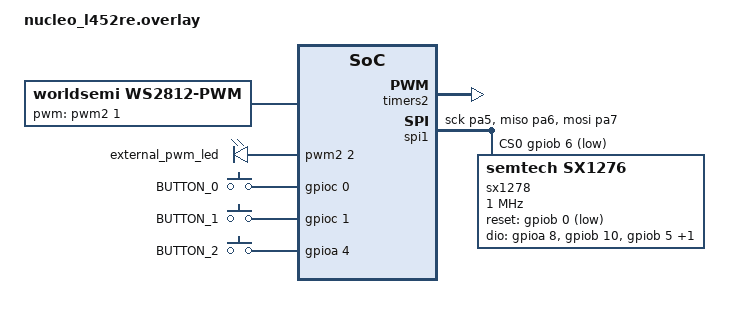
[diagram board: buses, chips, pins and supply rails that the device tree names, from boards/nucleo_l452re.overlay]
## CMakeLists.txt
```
cmake_minimum_required(VERSION 3.20)

if(NOT DEFINED BOARD)
    set(BOARD nucleo_l452re)
#    set(BOARD rs_0015_100)
endif()

include(${CMAKE_CURRENT_SOURCE_DIR}/../modules/rts-zephyr/clion-zephyr.cmake)

project(russia_railways VERSION 0.0.0)
FILE(GLOB_RECURSE SOURCES src/*.c src/*.cc src/*.cpp)
target_sources(app PRIVATE ${SOURCES})
target_include_directories(app PRIVATE ${CMAKE_CURRENT_SOURCE_DIR}/src/libs)
```

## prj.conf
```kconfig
# Common CONFIG begin
CONFIG_CPLUSPLUS=y
CONFIG_LIB_CPLUSPLUS=y
CONFIG_STD_CPP17=y
CONFIG_SYSTEM_WORKQUEUE_PRIORITY=0
# Common CONFIG end

# LoRa CONFIG begin
CONFIG_LORA=y
CONFIG_LORA_SX12XX=y
CONFIG_LORA_SX127X=y
CONFIG_HAS_SEMTECH_RADIO_DRIVERS=y
# LoRa CONFIG end

# WS2812 CONFIG begin
CONFIG_LED_STRIP=y
CONFIG_WS2812_STRIP=y
CONFIG_LED_UTILS=y
CONFIG_WS2812_STRIP_PWM=y
# WS2812 CONFIG end

# # DWM1000 CONFIG begin
# CONFIG_MESHPOSITION=y
# CONFIG_DW1000=y
# CONFIG_DW1000_STARTUP_LOADUCODE=y
# # DWM1000 CONFIG end

# RNG GONFIG begin
CONFIG_ENTROPY_GENERATOR=y
CONFIG_ENTROPY_DEVICE_RANDOM_GENERATOR=y
CONFIG_ENTROPY_STM32_RNG=y
# RNG GONFIG end

# Peripherals CONFIG begin
CONFIG_GPIO=y
CONFIG_SPI=y
CONFIG_SPI_STM32_DMA=y
CONFIG_PWM=y
CONFIG_DMA=y
# Peripherals CONFIG end

# Print CONFIG begin
CONFIG_NEWLIB_LIBC=y
CONFIG_NEWLIB_LIBC_FLOAT_PRINTF=y
CONFIG_PRINTK=y
# Print CONFIG end

# Stack CONFIG begin
CONFIG_MAIN_STACK_SIZE=4096
# CONFIG_IDLE_STACK_SIZE=4096
# CONFIG_LOG_PROCESS_THREAD_STACK_SIZE=4096
# CONFIG_SYSTEM_WORKQUEUE_STACK_SIZE=4096
# Stack CONFIG end
```

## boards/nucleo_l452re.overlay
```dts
/*
 * SPDX-License-Identifier: Apache-2.0
 *
 * Copyright (c) 2021 Planet Innovation
 */
#include <dt-bindings/led/led.h>

/ {
    led_strip: ws2812 {
        compatible = "worldsemi,ws2812-pwm";
        label = "WS2812";
        chain-length = <16>; /* arbitrary */
        color-mapping = <LED_COLOR_ID_GREEN
                         LED_COLOR_ID_RED
                         LED_COLOR_ID_BLUE>;
        pwms = <&pwm2 1 0 PWM_POLARITY_NORMAL>;
        period-ns = <1250>;
    };

    pwmleds {
        compatible = "pwm-leds";
        external_pwm_led: external_pwm_led {
            pwms = <&pwm2 2 0 PWM_POLARITY_NORMAL>;
        };
    };

    gpio_keys {
        compatible = "gpio-keys";
        button_0: button_0 {
            label = "BUTTON_0";
            status = "okay";
            gpios = <&gpioc 0 (GPIO_ACTIVE_HIGH | GPIO_PUSH_PULL)>;
        };

        button_1: button_1 {
            label = "BUTTON_1";
            status = "okay";
            gpios = <&gpioc 1 (GPIO_ACTIVE_HIGH | GPIO_PUSH_PULL)>;
        };

        button_2: button_2 {
            label = "BUTTON_2";
            status = "okay";
            gpios = <&gpioa 4 (GPIO_ACTIVE_HIGH | GPIO_PUSH_PULL)>;
        };
    };

	  aliases {
        sw0 = &button_0;
        sw1 = &button_1;
        sw2 = &button_2;
        led-strip = &led_strip;
        pwm-sound = &external_pwm_led;
    };
};


&timers2 {
    status = "okay";
    pwm2: pwm {
        status = "okay";
        pinctrl-0 = <&tim2_ch1_pa0 &tim2_ch2_pa1>;
    };
};

&dma1 {
    status = "okay";
};

&dma2 {
    status = "okay";
};

&spi1 {
    status = "okay";
    pinctrl-0 = <&spi1_sck_pa5 &spi1_miso_pa6 &spi1_mosi_pa7>;
    pinctrl-names = "default";
    cs-gpios = <&gpiob 6 (GPIO_ACTIVE_LOW)>;
    dmas = <&dma2 4 4 0x20440>, <&dma2 3 4 0x20480>;
    dma-names = "tx", "rx";
    lora0: sx1278@0 {
        compatible = "semtech,sx1276";
        reg = <0>;
        label = "sx1278";
        reset-gpios = <&gpiob 0 (GPIO_ACTIVE_LOW | GPIO_OPEN_DRAIN)>; // GPIO_ACTIVE_LOW
        dio-gpios = <&gpioa 8 (GPIO_ACTIVE_HIGH | GPIO_PULL_DOWN)>,
                    <&gpiob 10 (GPIO_ACTIVE_HIGH | GPIO_PULL_DOWN)>,
                    <&gpiob 5 (GPIO_ACTIVE_HIGH | GPIO_PULL_DOWN)>,
                    <&gpioa 2 (GPIO_ACTIVE_HIGH | GPIO_PULL_DOWN)>;
        power-amplifier-output = "pa-boost";
        spi-max-frequency = <1000000>;
    };
};

/*
&spi2 {
    status = "okay";
    pinctrl-0 = <&spi2_sck_pb13 &spi2_miso_pb14 &spi2_mosi_pb15>;
    pinctrl-names = "default";
    cs-gpios = <&gpiob 1 (GPIO_ACTIVE_LOW | GPIO_PULL_UP)>;
    status = "okay";
    dmas = <&dma1 5 1 0x20440>, <&dma1 4 1 0x20480>;
    dma-names = "tx", "rx";
    uwb: dw1000@0 {
        compatible = "decawave,dw1000";
        reg = <0>;
        label = "DW1000";
        spi-max-frequency = <8000000>;
        reset-gpios = <&gpiob 2 (GPIO_ACTIVE_LOW)>;
        int-gpios = <&gpioa 3 (GPIO_ACTIVE_HIGH | GPIO_PULL_DOWN)>;
        tx-ant-delay=<0x4042>;
        rx-ant-delay=<0x4042>;
    };
};
*/

&clk_hsi {
    status = "okay";
};


&pll {
    status = "okay";
    div-m = <1>;            /*  16 / 1  = 16MHz  */
    mul-n = <20>;           /*  16 * 20 = 320MHz */
    div-r = <4>;            /* 128 / 2  = 80MHz  */
    clocks = <&clk_hsi>;
};


&rcc {
	status = "okay";
	clocks = <&pll>;
	clock-frequency = <DT_FREQ_M(80)>;
	ahb-prescaler = <1>;
	apb1-prescaler = <1>;
	apb2-prescaler = <1>;
};
```

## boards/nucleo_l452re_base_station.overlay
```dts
/*
 * SPDX-License-Identifier: Apache-2.0
 *
 * Copyright (c) 2021 Planet Innovation
 */
#include <dt-bindings/led/led.h>

/ {
    led_strip: ws2812 {
        compatible = "worldsemi,ws2812-pwm";
        label = "WS2812";
        chain-length = <16>; /* arbitrary */
        color-mapping = <LED_COLOR_ID_GREEN
                         LED_COLOR_ID_RED
                         LED_COLOR_ID_BLUE>;
        pwms = <&pwm2 1 0 PWM_POLARITY_NORMAL>;
        period-ns = <1250>;
    };

    pwmleds {
        compatible = "pwm-leds";
        external_pwm_led: external_pwm_led {
            pwms = <&pwm2 2 0 PWM_POLARITY_NORMAL>;
        };
    };

	  aliases {
        led-strip = &led_strip;
        pwm-sound = &external_pwm_led;
    };
};


&timers2 {
    status = "okay";
    pwm2: pwm {
        status = "okay";
        pinctrl-0 = <&tim2_ch1_pa0 &tim2_ch2_pa1>;
    };
};

&spi1 {
    status = "okay";
    cs-gpios = <&gpiob 6 (GPIO_ACTIVE_LOW)>;
    lora0: sx1278@0 {
        compatible = "semtech,sx1276";
        reg = <0>;
        label = "sx1278";
        reset-gpios = <&gpiob 0 (GPIO_ACTIVE_LOW | GPIO_OPEN_DRAIN)>; // GPIO_ACTIVE_LOW
        dio-gpios = <&gpioc 0 (GPIO_ACTIVE_HIGH | GPIO_PULL_DOWN)>,
                    <&gpioc 1 (GPIO_ACTIVE_HIGH | GPIO_PULL_DOWN)>,
                    <&gpioc 2 (GPIO_ACTIVE_HIGH | GPIO_PULL_DOWN)>,
                    <&gpioc 3 (GPIO_ACTIVE_HIGH | GPIO_PULL_DOWN)>;
        power-amplifier-output = "pa-boost";
        spi-max-frequency = <500000>;
    };
};


&clk_hsi {
    status = "okay";
};


&pll {
    status = "okay";
    div-m = <1>;            /*  16 / 1  = 16MHz  */
    mul-n = <20>;           /*  16 * 20 = 320MHz */
    div-r = <4>;            /* 128 / 2  = 80MHz  */
    clocks = <&clk_hsi>;
};


&rcc {
	status = "okay";
	clocks = <&pll>;
	clock-frequency = <DT_FREQ_M(80)>;
	ahb-prescaler = <1>;
	apb1-prescaler = <1>;
	apb2-prescaler = <1>;
};
/*
&spi1{
    status = "okay";
    cs-gpios = <&gpiob 2 (GPIO_ACTIVE_LOW | GPIO_PULL_UP)>;
    uwb: dw1000@0 {
        compatible = "decawave,dw1000";
        reg = <0>;
        label = "DW1000";
        spi-max-frequency = <8000000>;
        reset-gpios = <&gpioa 8 (GPIO_ACTIVE_LOW)>;
        int-gpios = <&gpiob 10 (GPIO_ACTIVE_HIGH | GPIO_PULL_DOWN)>;
        tx-ant-delay=<0x4042>;
        rx-ant-delay=<0x4042>;
    };
};
*/
```

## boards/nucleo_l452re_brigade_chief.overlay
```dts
/*
 * SPDX-License-Identifier: Apache-2.0
 *
 * Copyright (c) 2021 Planet Innovation
 */
#include <dt-bindings/led/led.h>

/ {
    led_strip: ws2812 {
        compatible = "worldsemi,ws2812-pwm";
        label = "WS2812";
        chain-length = <16>; /* arbitrary */
        color-mapping = <LED_COLOR_ID_GREEN
                         LED_COLOR_ID_RED
                         LED_COLOR_ID_BLUE>;
        pwms = <&pwm2 1 0 PWM_POLARITY_NORMAL>;
        period-ns = <1250>;
    };

    pwmleds {
        compatible = "pwm-leds";
        external_pwm_led: external_pwm_led {
            pwms = <&pwm2 2 0 PWM_POLARITY_NORMAL>;
        };
    };

    gpio_keys {
        compatible = "gpio-keys";
        button_alarm: button_0 {
            status = "okay";
            label = "DIS_ALARM";
            gpios = <&gpioc 13 (GPIO_ACTIVE_LOW | GPIO_PUSH_PULL)>;
        };
    };

	  aliases {
        disable-alarm-sw = &button_alarm;
        led-strip = &led_strip;
        pwm-sound = &external_pwm_led;
    };
};


&timers2 {
    status = "okay";
    pwm2: pwm {
        status = "okay";
        pinctrl-0 = <&tim2_ch1_pa0 &tim2_ch2_pa1>;
    };
};

&spi1 {
    status = "okay";
    cs-gpios = <&gpiob 6 (GPIO_ACTIVE_LOW)>;
    lora0: sx1278@0 {
        compatible = "semtech,sx1276";
        reg = <0>;
        label = "sx1278";
        reset-gpios = <&gpiob 0 (GPIO_ACTIVE_LOW | GPIO_OPEN_DRAIN)>; // GPIO_ACTIVE_LOW
        dio-gpios = <&gpioc 0 (GPIO_ACTIVE_HIGH | GPIO_PULL_DOWN)>,
                    <&gpioc 1 (GPIO_ACTIVE_HIGH | GPIO_PULL_DOWN)>,
                    <&gpioc 2 (GPIO_ACTIVE_HIGH | GPIO_PULL_DOWN)>,
                    <&gpioc 3 (GPIO_ACTIVE_HIGH | GPIO_PULL_DOWN)>;
        power-amplifier-output = "pa-boost";
        spi-max-frequency = <500000>;
    };
};


&clk_hsi {
    status = "okay";
};


&pll {
    status = "okay";
    div-m = <1>;            /*  16 / 1  = 16MHz  */
    mul-n = <20>;           /*  16 * 20 = 320MHz */
    div-r = <4>;            /* 128 / 2  = 80MHz  */
    clocks = <&clk_hsi>;
};


&rcc {
	status = "okay";
	clocks = <&pll>;
	clock-frequency = <DT_FREQ_M(80)>;
	ahb-prescaler = <1>;
	apb1-prescaler = <1>;
	apb2-prescaler = <1>;
};
/*
&spi1{
    status = "okay";
    cs-gpios = <&gpiob 2 (GPIO_ACTIVE_LOW | GPIO_PULL_UP)>;
    uwb: dw1000@0 {
        compatible = "decawave,dw1000";
        reg = <0>;
        label = "DW1000";
        spi-max-frequency = <8000000>;
        reset-gpios = <&gpioa 8 (GPIO_ACTIVE_LOW)>;
        int-gpios = <&gpiob 10 (GPIO_ACTIVE_HIGH | GPIO_PULL_DOWN)>;
        tx-ant-delay=<0x4042>;
        rx-ant-delay=<0x4042>;
    };
};
*/
```

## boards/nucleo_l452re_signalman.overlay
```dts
/*
 * SPDX-License-Identifier: Apache-2.0
 *
 * Copyright (c) 2021 Planet Innovation
 */
#include <dt-bindings/led/led.h>

/ {
    led_strip: ws2812 {
        compatible = "worldsemi,ws2812-pwm";
        label = "WS2812";
        chain-length = <16>; /* arbitrary */
        color-mapping = <LED_COLOR_ID_GREEN
                         LED_COLOR_ID_RED
                         LED_COLOR_ID_BLUE>;
        pwms = <&pwm2 1 0 PWM_POLARITY_NORMAL>;
        period-ns = <1250>;
    };

    pwmleds {
        compatible = "pwm-leds";
        external_pwm_led: external_pwm_led {
            pwms = <&pwm2 2 0 PWM_POLARITY_NORMAL>;
        };
    };

    gpio_keys {
        compatible = "gpio-keys";
        button_alarm: button_0 {
            status = "okay";
            label = "ALARM";
            gpios = <&gpioc 13 (GPIO_ACTIVE_LOW | GPIO_PUSH_PULL)>;
        };
    };

	  aliases {
        alarm-sw = &button_alarm;
        led-strip = &led_strip;
        pwm-sound = &external_pwm_led;
    };
};


&timers2 {
    status = "okay";
    pwm2: pwm {
        status = "okay";
        pinctrl-0 = <&tim2_ch1_pa0 &tim2_ch2_pa1>;
    };
};

&spi1 {
    status = "okay";
    cs-gpios = <&gpiob 6 (GPIO_ACTIVE_LOW)>;
    lora0: sx1278@0 {
        compatible = "semtech,sx1276";
        reg = <0>;
        label = "sx1278";
        reset-gpios = <&gpiob 0 (GPIO_ACTIVE_LOW | GPIO_OPEN_DRAIN)>; // GPIO_ACTIVE_LOW
        dio-gpios = <&gpioc 0 (GPIO_ACTIVE_HIGH | GPIO_PULL_DOWN)>,
                    <&gpioc 1 (GPIO_ACTIVE_HIGH | GPIO_PULL_DOWN)>,
                    <&gpioc 2 (GPIO_ACTIVE_HIGH | GPIO_PULL_DOWN)>,
                    <&gpioc 3 (GPIO_ACTIVE_HIGH | GPIO_PULL_DOWN)>;
        power-amplifier-output = "pa-boost";
        spi-max-frequency = <500000>;
    };
};


&clk_hsi {
    status = "okay";
};


&pll {
    status = "okay";
    div-m = <1>;            /*  16 / 1  = 16MHz  */
    mul-n = <20>;           /*  16 * 20 = 320MHz */
    div-r = <4>;            /* 128 / 2  = 80MHz  */
    clocks = <&clk_hsi>;
};


&rcc {
	status = "okay";
	clocks = <&pll>;
	clock-frequency = <DT_FREQ_M(80)>;
	ahb-prescaler = <1>;
	apb1-prescaler = <1>;
	apb2-prescaler = <1>;
};
/*
&spi1{
    status = "okay";
    cs-gpios = <&gpiob 2 (GPIO_ACTIVE_LOW | GPIO_PULL_UP)>;
    uwb: dw1000@0 {
        compatible = "decawave,dw1000";
        reg = <0>;
        label = "DW1000";
        spi-max-frequency = <8000000>;
        reset-gpios = <&gpioa 8 (GPIO_ACTIVE_LOW)>;
        int-gpios = <&gpiob 10 (GPIO_ACTIVE_HIGH | GPIO_PULL_DOWN)>;
        tx-ant-delay=<0x4042>;
        rx-ant-delay=<0x4042>;
    };
};
*/
```

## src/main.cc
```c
#include "rr_common.h"

#define STACK_SIZE 1024

#define PRIORITY_PROC 0
#define PRIORITY_MODEM_TASK (-2)
#define PRIORITY_DWM_TASK (-1)

#if CUR_DEVICE == BASE_STATION

K_THREAD_DEFINE(proc_task_id, STACK_SIZE,
                base_station_proc_task, NULL, NULL, NULL,
                PRIORITY_PROC, 0, 0);
K_THREAD_DEFINE(modem_task_id, STACK_SIZE,
                base_station_modem_task, NULL, NULL, NULL,
                PRIORITY_MODEM_TASK, 0, 0);
K_THREAD_DEFINE(dwm_task_id, 2*STACK_SIZE,
                base_station_dwm_task, NULL, NULL, NULL,
                PRIORITY_DWM_TASK, 0, 0);
#elif CUR_DEVICE == SIGNALMAN

K_THREAD_DEFINE(proc_task_id, STACK_SIZE,
                signalman_proc_task, NULL, NULL, NULL,
                PRIORITY_PROC, 0, 0);
K_THREAD_DEFINE(modem_task_id, STACK_SIZE,
                signalman_modem_task, NULL, NULL, NULL,
                PRIORITY_MODEM_TASK, 0, 0);
#elif CUR_DEVICE == BRIGADE_CHIEF

K_THREAD_DEFINE(proc_task_id, STACK_SIZE,
                brigade_chief_proc_task, NULL, NULL, NULL,
                PRIORITY_PROC, 0, 0);
K_THREAD_DEFINE(modem_task_id, STACK_SIZE,
                brigade_chief_modem_task, NULL, NULL, NULL,
                PRIORITY_MODEM_TASK, 0, 0);

#elif CUR_DEVICE == WORKERS

K_THREAD_DEFINE(dwm_task_id, 2*STACK_SIZE,
                workers_dwm_task, NULL, NULL, NULL,
                PRIORITY_DWM_TASK, 0, 0);

#endif
```
